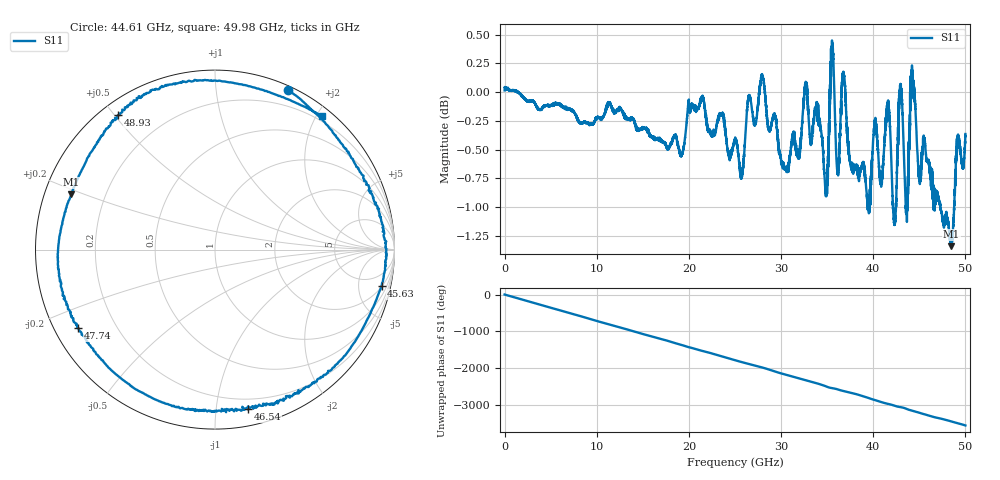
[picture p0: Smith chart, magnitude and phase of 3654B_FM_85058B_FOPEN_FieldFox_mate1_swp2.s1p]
!Created with skrf (http://scikit-rf.org).
# Hz S RI R 50.0
!freq ReS11 ImS11
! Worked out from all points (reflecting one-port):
!   10001 points, 300 kHz to 50 GHz, reference 50 ohm
!   lowest |S11| = -1.3 dB at 48.48 GHz (marker M1), VSWR 12.99, Z = 3.98 + j9.26 ohm
!   phase of S11 starts at 0 deg and turns -3550 deg over the sweep
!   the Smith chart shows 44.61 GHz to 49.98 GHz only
!   S11 on the Smith chart (normalised r, x): 44.61 GHz: 0.04, +1.55; 45.63 GHz: 2.12, -8.77; 46.54 GHz: 0.12, -1.22; 47.74 GHz: 0.07, -0.26; 48.93 GHz: 0.05, +0.51; 49.98 GHz: 0.13, +2.08
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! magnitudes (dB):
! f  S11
! 300 kHz  0.0
! 6.25 GHz  -0.1
! 12.5 GHz  -0.1
! 18.75 GHz  -0.5
! 25 GHz  -0.4
! 25.74 GHz  -0.7
! 27.94 GHz  0.2
! 31.25 GHz  -0.4
! 32.7 GHz  0.0
! 34.87 GHz  -0.9
! 35.54 GHz  0.4
! 36.1 GHz  -0.7
! 36.79 GHz  0.2
! 37.5 GHz  -0.6
! 39.48 GHz  -0.9
! 41.6 GHz  -0.1
! 42.31 GHz  -1.2
! 42.97 GHz  0.1
! 43.75 GHz  -0.9
! 44.22 GHz  0.2
! 44.61 GHz  -0.2
! 45.63 GHz  -0.4
! 46.54 GHz  -0.8
! 47.74 GHz  -1.1
! 48.48 GHz  -1.3
! 48.93 GHz  -0.7
! 49.98 GHz  -0.4
! 50 GHz  -0.4
